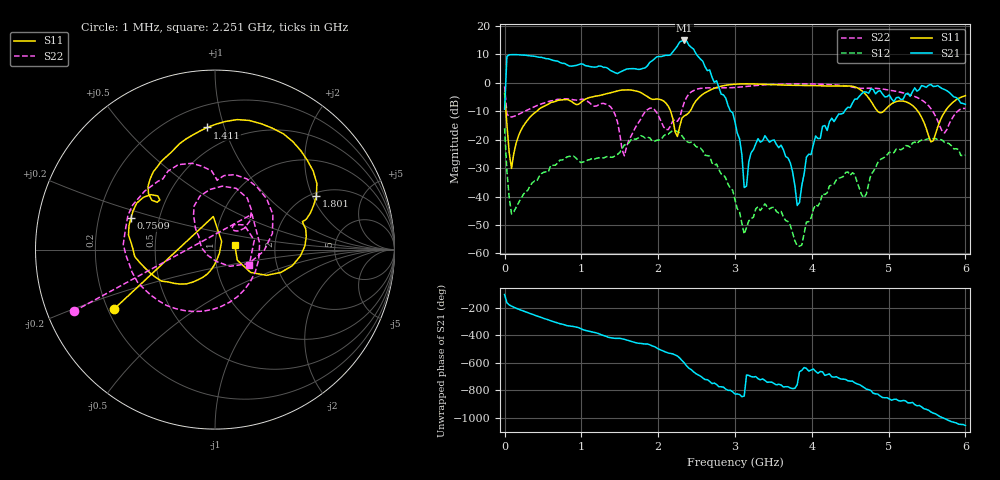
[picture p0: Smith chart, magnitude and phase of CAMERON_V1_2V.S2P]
!Agilent Technologies,E5071C,MY46107443,A.09.30
!Date: Tue Apr 26 16:00:42 2016
!Data & Calibration Information:
!Freq	S11:SOLT2(ON)	S21:SOLT2(ON)	S12:SOLT2(ON)	S22:SOLT2(ON)
# Hz S dB R 50
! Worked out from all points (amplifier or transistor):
!   201 points, 1 MHz to 6 GHz, reference 50 ohm
!   highest |S21| = 14.9 dB at 2.341 GHz (marker M1)
!   |S21| within 3 dB of that: 2.221 GHz to 2.46 GHz (239 MHz wide, 10.2 % of centre)
!   unconditionally stable (mu >= 1): start of sweep to 2.307 GHz; 2.571 GHz to end of sweep
!   at 990.8 MHz: K = 3.32, MAG = 9.2 dB, |S12| = -28.1 dB
!   at 3.001 GHz: K = 10.78, MAG = 0.4 dB, |S12| = -41.2 dB
!   at 6 GHz: K = 12.75, MAG = -5.1 dB, |S12| = -25.5 dB
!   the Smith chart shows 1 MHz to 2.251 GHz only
!   S11 on the Smith chart (normalised r, x): 1 MHz: 0.22, -0.26; 750.9 MHz: 0.34, +0.16; 1.411 GHz: 0.34, +0.88; 1.801 GHz: 2.12, +2.14; 2.251 GHz: 1.25, +0.07
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1000000  -3.70 -149.5  -9.32 -105.8  -15.98 19.1  -1.31 -156.4
3.0995e7  -14.67 92.9  9.30 -165.2  -31.06 -113.8  -10.90 43.7
9.0985e7  -30.12 -36.1  9.87 169.8  -46.11 120.4  -12.05 -12.7
3.90935e8  -10.61 -140.3  9.30 104.5  -34.54 32.0  -8.42 -116.3
7.50875e8  -6.02 159.6  6.83 38.8  -27.14 -28.5  -5.79 164.6
1.02083e9  -6.33 140.1  6.53 -1.0  -27.92 -79.0  -5.75 113.4
1.410765e9  -3.32 93.6  3.94 -62.2  -26.20 -120.8  -9.57 15.8
1.8007e9  -3.89 27.9  5.05 -103.7  -18.87 159.4  -11.40 115.6
2.010665e9  -5.79 8.1  9.22 -143.6  -20.13 122.6  -12.00 39.4
2.250625e9  -18.92 13.5  12.93 167.3  -17.18 50.9  -13.58 -24.7
2.34061e9  -11.64 30.8  14.87 117.6  -19.77 19.7  -6.84 -173.4
2.4006e9  -10.52 39.6  13.20 78.0  -21.04 10.7  -3.93 136.2
2.490585e9  -6.40 39.4  10.32 39.3  -22.40 -14.9  -2.40 92.8
2.70055e9  -2.27 4.2  1.98 -32.8  -28.15 -70.6  -1.77 36.6
3.0005e9  -0.52 -46.3  -13.80 -109.4  -41.17 -130.0  -1.67 -11.0
3.12048e9  -0.38 -64.9  -36.86 -123.7  -53.23 -84.6  -1.37 -27.5
3.390435e9  -0.57 -103.3  -18.60 -10.7  -42.59 -67.1  -0.72 -66.0
3.810365e9  -0.92 -157.4  -43.16 -41.2  -57.32 174.4  -0.41 -125.1
4.02033e9  -0.98 175.6  -21.82 72.7  -44.57 36.1  -0.45 -153.5
5.010165e9  -8.03 80.3  -4.28 -144.8  -24.38 -93.2  -2.60 90.0
5.64006e9  -15.55 170.2  -0.99 96.8  -20.00 112.4  -13.44 19.6
6e9  -4.56 76.3  -7.59 22.3  -25.46 38.3  -9.02 64.5
